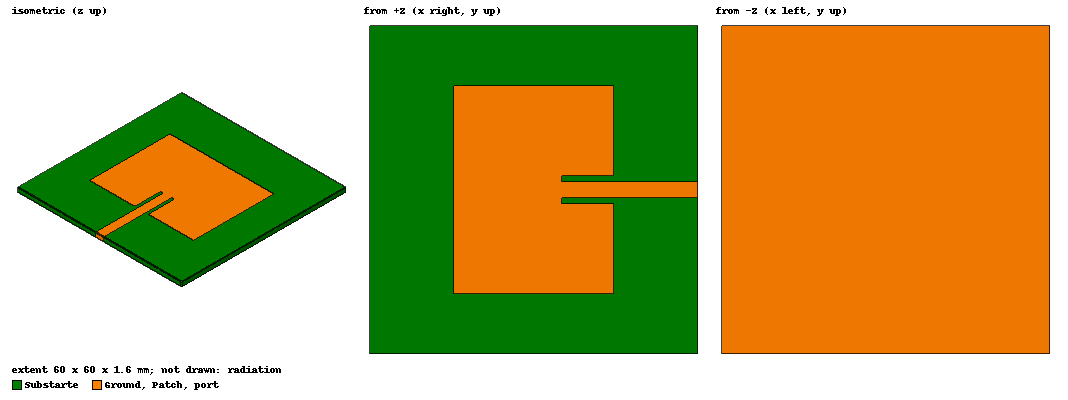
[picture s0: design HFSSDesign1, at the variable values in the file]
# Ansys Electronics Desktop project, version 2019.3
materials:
  vacuum: permittivity=1
  FR4_epoxy: permittivity=4.4 dielectric_loss_tangent=0.02

design HFSSDesign1 (HFSS, DrivenModal, model units mm)
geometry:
  Ground = rectangle(corner=(-30mm, -30mm, 0mm), x_size=60mm, y_size=60mm)
  Substarte [FR4_epoxy] = box(corner=(-30mm, -30mm, 0mm), size=(60mm, 60mm, 1.6mm))
  Patch = rectangle(corner=((-29.4/2) mm, (-38/2) mm, 1.6mm), x_size=29.4mm, y_size=38mm)
  feed = rectangle(corner=(0mm, -1.5mm, 1.6mm), x_size=30mm, y_size=3mm)
  cut = rectangle(corner=(14.7mm, -2.5mm, 1.6mm), x_size=-9.5mm, y_size=5mm)
  Patch.subtract(cut)
  Patch.unite(feed)
  port = rectangle(corner=(30mm, -1.5mm, 1.6mm), y_size=3mm, z_size=-1.6mm)
  radiation [vacuum] = box(corner=(-40mm, -40mm, -20mm), size=(80mm, 80mm, 40mm))
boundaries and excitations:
  PerfE1: Perfect E Objects=[Patch, Ground]
  Rad1: Radiation Objects=radiation
  1: Lumped Port Objects=port Modes{Mode1{IntLine{middle of port.edge(z at corner) -> middle of port.edge(z opposite corner)} CharImp=Zpi RenormImp=50ohm}} Impedance=50ohm
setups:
  Setup1: HfssDriven Frequency=2.4GHz MaxDeltaS=0.02 MaximumPasses=20 MinimumPasses=1 MinimumConvergedPasses=1 PercentRefinement=30 BasisOrder=1 PortAccuracy=2
    sweep Sweep: 1GHz to 3GHz step 0.01GHz; Type=Fast SaveFields
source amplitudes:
  1:1: 1W 0deg
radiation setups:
  Infinite Sphere1: Infinite Sphere Theta=0deg..180deg step 10deg Phi=0deg..360deg step 10deg
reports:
  S Parameter Plot 1: dB(S(1,1)) vs Freq on Setup1 : Sweep; markers m1 at 2.39GHz
  rE Plot 1: rETotal vs Phi, Theta on Setup1 : LastAdaptive, Infinite Sphere1 [Freq=2.4GHz]
